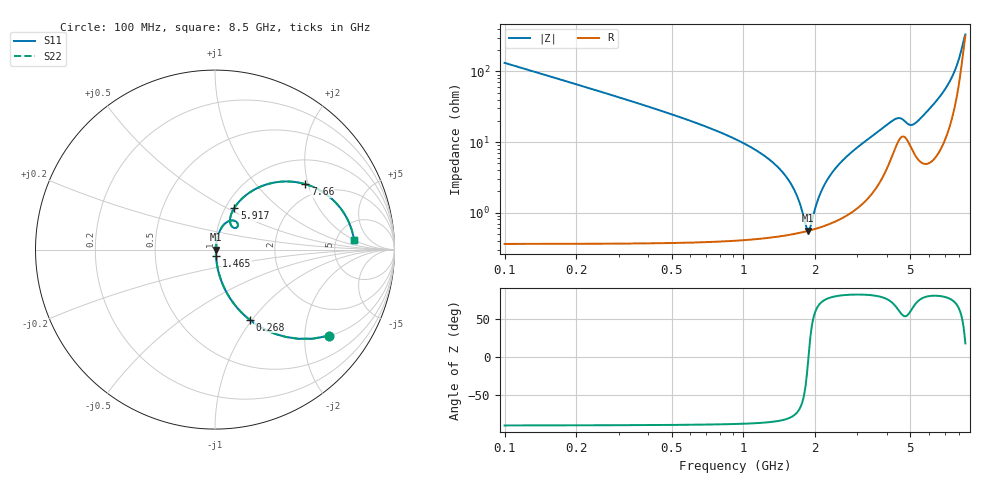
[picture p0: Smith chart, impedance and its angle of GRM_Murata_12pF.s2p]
!Murata Part Number: GRM1885C2A120JA01
!These Parameters are Measured in Series Mode Connection
!Data Generated on Mar 13, 2026
!  o--ll--o
!Port1  Port2
!  o------o
!Operation Temp=25[degC], DC Bias Voltage=0[V]
!Freq. Start=100[MHz] Stop=9[GHz] 401[Steps]
# Hz S RI R 50
!Freq.(Hz) S11(Real) S11(Imag) S21(Real) S21(Imag) S12(Real) S12(Imag) S22(Real) S22(Imag)
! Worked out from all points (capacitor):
!   401 points, 100 MHz to 8.5 GHz, reference 50 ohm
!   read as one part in series: C = 12 pF near 142 MHz
!   lowest |Z| = 555 mohm at 1.864 GHz (marker M1)
!   series resonance near 1.872 GHz, so ESL is about 600 pH
!   S11 on the Smith chart (normalised r, x): 100 MHz: 1.01, -2.65; 268 MHz: 1.01, -0.97; 1.465 GHz: 1.01, -0.07; 5.917 GHz: 1.10, +0.55; 7.66 GHz: 1.62, +1.92; 8.5 GHz: 7.35, +2.06
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1e8  0.636 -0.4798  0.364 0.4798  0.364 0.4798  0.636 -0.4798
2.05e8  0.2914 -0.4516  0.7086 0.4516  0.7086 0.4516  0.2914 -0.4516
2.68e8  0.1925 -0.3905  0.8075 0.3905  0.8075 0.3905  0.1925 -0.3905
4.15e8  0.0878 -0.277  0.9122 0.277  0.9122 0.277  0.0878 -0.277
6.88e8  0.031 -0.1623  0.969 0.1623  0.969 0.1623  0.031 -0.1623
1.465e9  0.00597 -0.0361  0.994 0.0361  0.994 0.0361  0.00597 -0.0361
1.507e9  0.00576 -0.0319  0.9942 0.0319  0.9942 0.0319  0.00576 -0.0319
1.675e9  0.00532 -0.0164  0.9947 0.0164  0.9947 0.0164  0.00532 -0.0164
1.864e9  0.00548 -0.000648  0.9945 0.000648  0.9945 0.000648  0.00548 -0.000648
1.906e9  0.0056 0.00269  0.9944 -0.00269  0.9944 -0.00269  0.0056 0.00269
2.095e9  0.00644 0.0171  0.9936 -0.0171  0.9936 -0.0171  0.00644 0.0171
2.263e9  0.0076 0.0293  0.9924 -0.0293  0.9924 -0.0293  0.0076 0.0293
2.536e9  0.0104 0.0485  0.9896 -0.0485  0.9896 -0.0485  0.0104 0.0485
2.914e9  0.0163 0.0748  0.9837 -0.0748  0.9837 -0.0748  0.0163 0.0748
4.3e9  0.1018 0.1621  0.8982 -0.1621  0.8982 -0.1621  0.1018 0.1621
5.035e9  0.0952 0.1279  0.9048 -0.1279  0.9048 -0.1279  0.0952 0.1279
5.707e9  0.094 0.2066  0.906 -0.2066  0.906 -0.2066  0.094 0.2066
5.917e9  0.108 0.233  0.892 -0.233  0.892 -0.233  0.108 0.233
7.114e9  0.3102 0.3694  0.6898 -0.3694  0.6898 -0.3694  0.3102 0.3694
7.66e9  0.5034 0.3645  0.4966 -0.3645  0.4966 -0.3645  0.5034 0.3645
8.038e9  0.6574 0.2768  0.3426 -0.2768  0.3426 -0.2768  0.6574 0.2768
8.5e9  0.7742 0.0556  0.2258 -0.0556  0.2258 -0.0556  0.7742 0.0556
